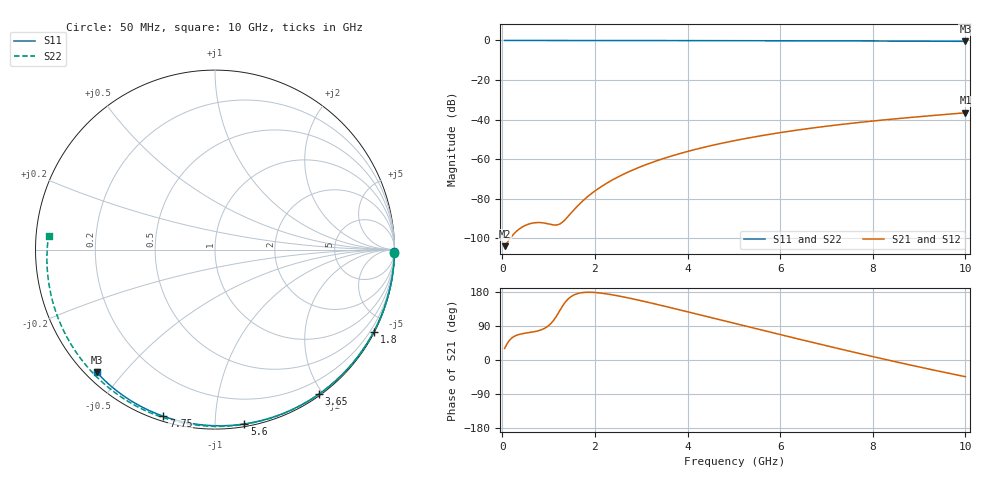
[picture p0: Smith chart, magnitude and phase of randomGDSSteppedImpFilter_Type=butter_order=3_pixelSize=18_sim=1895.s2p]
! freq	dB(S11)	phase(S11)	dB(S12)	phase(S12)
!  dB(S21)	phase(S21)	dB(S22)	phase(S22)
!S-par simulation data
#  GHz  S  DB  R 50
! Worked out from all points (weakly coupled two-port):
!   200 points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, 50 MHz to 10 GHz, reference 50 ohm
!   highest |S21| = -36.56 dB at 10 GHz (marker M1); lowest = -104.0 dB at 50 MHz (marker M2)
!   lowest |S11| = -0.5 dB at 10 GHz (marker M3), VSWR 38.49, Z = 1.53 - j21.2 ohm
!   |S11| at or under -10 dB: nowhere
!   |S22| runs from -0.6 to 0.0 dB; largest |S21 - S12| = 0
!   S11 on the Smith chart (normalised r, x): 50 MHz: open; 1.8 GHz: 0.04, -4.11; 3.65 GHz: 0.02, -1.96; 5.6 GHz: 0.02, -1.18; 7.75 GHz: 0.02, -0.74; 10 GHz: 0.03, -0.42
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0.05  -0.00 -0.8  -103.99 30.7  -103.99 30.7  -0.00 -1.0
0.45  -0.01 -6.9  -94.05 69.8  -94.05 69.8  -0.01 -9.3
0.85  -0.01 -13.0  -92.11 80.0  -92.11 80.0  -0.02 -17.5
1.3  -0.02 -19.8  -91.86 142.3  -91.86 142.3  -0.03 -26.6
1.75  -0.03 -26.6  -80.84 178.2  -80.84 178.2  -0.05 -35.6
1.8  -0.03 -27.3  -79.79 178.6  -79.79 178.6  -0.05 -36.6
2.1  -0.04 -31.8  -74.45 177.0  -74.45 177.0  -0.05 -42.5
2.3  -0.04 -34.7  -71.53 173.6  -71.53 173.6  -0.06 -46.4
2.5  -0.05 -37.7  -68.98 169.2  -68.98 169.2  -0.06 -50.3
2.9  -0.06 -43.5  -64.66 159.1  -64.66 159.1  -0.07 -58.0
3.4  -0.07 -50.6  -60.31 145.0  -60.31 145.0  -0.09 -67.4
3.65  -0.07 -54.1  -58.44 137.7  -58.44 137.7  -0.10 -72.0
4.35  -0.09 -63.8  -54.02 116.7  -54.02 116.7  -0.12 -84.7
5.05  -0.11 -73.2  -50.47 95.6  -50.47 95.6  -0.15 -97.1
5.6  -0.13 -80.5  -48.12 79.0  -48.12 79.0  -0.18 -106.6
6.15  -0.15 -87.5  -46.06 62.6  -46.06 62.6  -0.21 -116.0
6.7  -0.18 -94.4  -44.25 46.4  -44.25 46.4  -0.25 -125.3
7.75  -0.25 -107.2  -41.33 16.0  -41.33 16.0  -0.33 -143.0
8.35  -0.29 -114.4  -39.92 -0.8  -39.92 -0.8  -0.39 -153.4
9.2  -0.37 -124.5  -38.13 -23.6  -38.13 -23.6  -0.50 -168.9
9.6  -0.41 -129.2  -37.34 -33.9  -37.34 -33.9  -0.56 -176.6
10  -0.45 -134.0  -36.56 -44.1  -36.56 -44.1  -0.63 175.2
